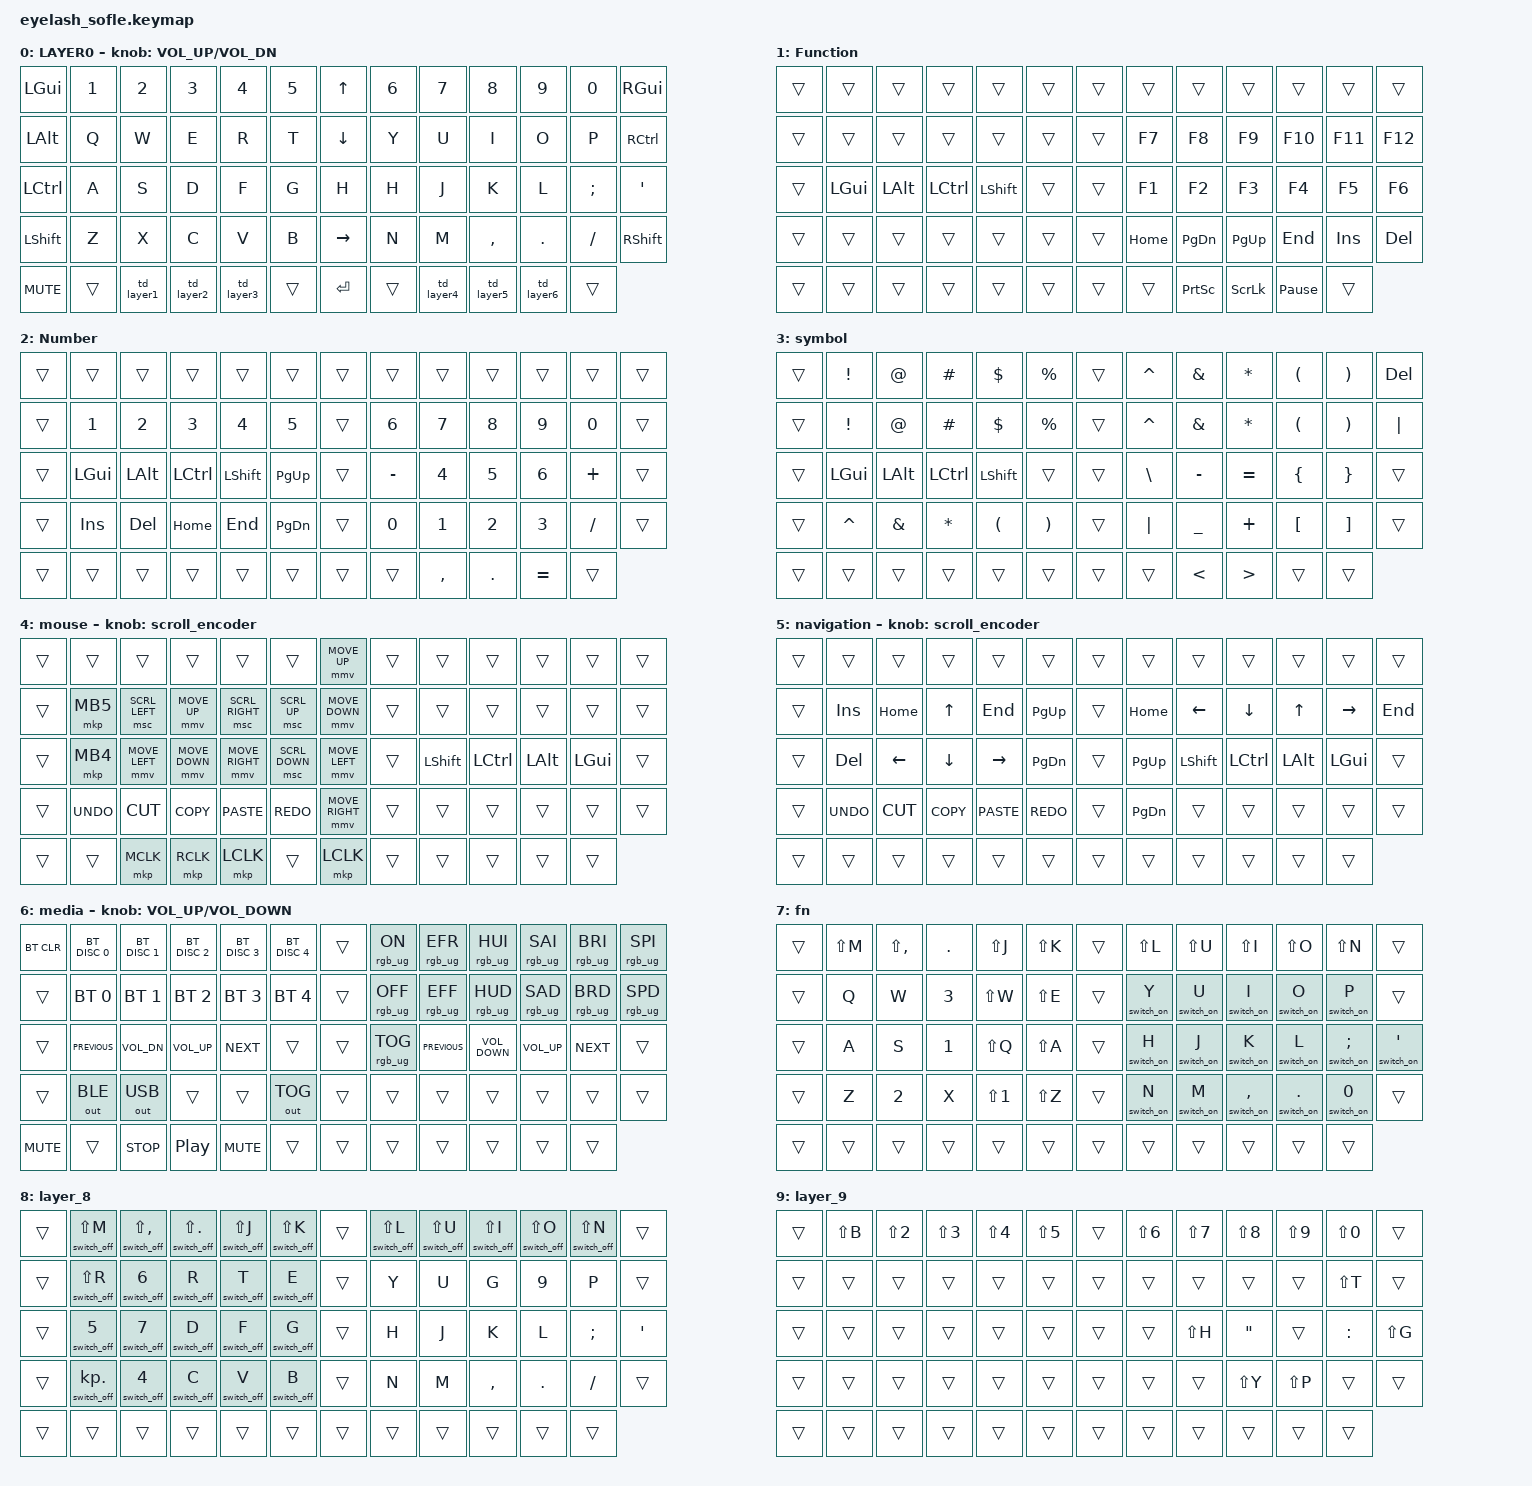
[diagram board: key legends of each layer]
#define ZMK_POINTING_DEFAULT_MOVE_VAL 1200  // 600
#define ZMK_POINTING_DEFAULT_SCRL_VAL 25   // 10

#include <input/processors.dtsi>
#include <zephyr/dt-bindings/input/input-event-codes.h>
#include <behaviors.dtsi>
#include <dt-bindings/zmk/bt.h>
#include <dt-bindings/zmk/keys.h>
#include <dt-bindings/zmk/outputs.h>
#include <dt-bindings/zmk/pointing.h>
#include <dt-bindings/zmk/rgb.h>

/ {
    zip_scroll_scaler: zip_scroll_scaler {
        compatible = "zmk,input-processor-scaler";
        #input-processor-cells = <2>;
        type = <INPUT_EV_REL>;
        codes = <INPUT_REL_WHEEL INPUT_REL_HWHEEL>;
        track-remainders;
    };
};

&mmv_input_listener { input-processors = <&zip_xy_scaler 2 1>; };

&msc_input_listener { input-processors = <&zip_scroll_scaler 2 1>; };

&msc {
    acceleration-exponent = <1>;      // 0
    time-to-max-speed-ms = <100>;       // 300
    delay-ms = <0>;                   // 0
};

&mmv {
    time-to-max-speed-ms = <500>;
    acceleration-exponent = <1>;
    trigger-period-ms = <16>;
};

/ {
    scroll_encoder: scroll_encoder {
        compatible = "zmk,behavior-sensor-rotate";
        #sensor-binding-cells = <0>;
        bindings = <&msc SCRL_DOWN>, <&msc SCRL_UP>;

        tap-ms = <100>;
    };

    tl_hr_left: tl_hr_left {
        compatible = "zmk,behavior-hold-tap";
        label = "TL_HR_LEFT";
        bindings = <&kp>, <&kp>;

        #binding-cells = <2>;
        tapping-term-ms = <220>;
        flavor = "balanced";
        quick-tap-ms = <168>;
        require-prior-idle-ms = <138>;
        hold-trigger-key-positions = <1 2 3 4 5 14 15 16 17 18 27 28 29 30 31 40 41 42 43 44 0 13 26 39 53 54 55 56 57 59 60 61 62 63 51 38 12>;
        hold-trigger-on-release;
    };

    tl_hr_right: tl_hr_right {
        compatible = "zmk,behavior-hold-tap";
        label = "TL_HR_RIGHT";
        bindings = <&kp>, <&kp>;

        #binding-cells = <2>;
        tapping-term-ms = <220>;
        flavor = "balanced";
        quick-tap-ms = <168>;
        require-prior-idle-ms = <138>;
        hold-trigger-on-release;
        hold-trigger-key-positions = <53 54 55 56 57 59 60 61 62 63 7 8 9 10 11 12 20 21 22 23 24 25 33 34 35 36 37 38 46 47 48 49 50 51 59 60 61 62 63 13 26 39>;
    };

    td_layer1: td_layer1 {
        compatible = "zmk,behavior-tap-dance";
        label = "TD_LAYER1";
        #binding-cells = <0>;
        bindings = <&lt 1 ESCAPE>, <&kp ESCAPE>;

        tapping-term-ms = <168>;
    };

    td_layer2: td_layer2 {
        compatible = "zmk,behavior-tap-dance";
        label = "TD_LAYER2";
        #binding-cells = <0>;
        bindings = <&lt 2 TAB>, <&kp TAB>;

        tapping-term-ms = <168>;
    };

    td_layer3: td_layer3 {
        compatible = "zmk,behavior-tap-dance";
        label = "TD_LAYER3";
        #binding-cells = <0>;
        bindings = <&lt 3 SPACE>, <&kp SPACE>;

        tapping-term-ms = <168>;
    };

    td_layer4: td_layer4 {
        compatible = "zmk,behavior-tap-dance";
        label = "TD_LAYER4";
        #binding-cells = <0>;
        bindings = <&lt 4 ENTER>, <&kp ENTER>;

        tapping-term-ms = <168>;
    };

    td_layer5: td_layer5 {
        compatible = "zmk,behavior-tap-dance";
        label = "TD_LAYER5";
        #binding-cells = <0>;
        bindings = <&lt 5 BACKSPACE>, <&kp BACKSPACE>;

        tapping-term-ms = <168>;
    };

    td_layer6: td_layer6 {
        compatible = "zmk,behavior-tap-dance";
        label = "TD_LAYER6";
        #binding-cells = <0>;
        bindings = <&lt 6 DELETE>, <&kp DELETE>;

        tapping-term-ms = <168>;
    };

    layer_on_toggle: layer_on_toggle {
        compatible = "zmk,behavior-toggle-layer";
        label = "LAYER_ON_TOGGLE";
        #binding-cells = <1>;
    };

    layer_off_toggle: layer_off_toggle {
        compatible = "zmk,behavior-toggle-layer";
        label = "LAYER_OFF_TOGGLE";
        #binding-cells = <1>;
        toggle-mode = "off";
    };

    behaviors {
    };

    combos {
        compatible = "zmk,combos";

        left_sys {
            bindings = <&bootloader>;
            key-positions = <0 57 1>;
        };

        right_sys {
            bindings = <&bootloader>;
            key-positions = <11 12 59>;
        };

        left_rst {
            bindings = <&sys_reset>;
            key-positions = <0 5 57>;
        };

        right_rst {
            bindings = <&sys_reset>;
            key-positions = <59 12 7>;
        };

        arrow_double_right {
            bindings = <&macro_arrow_double_right>;
            key-positions = <35 49>;
            layers = <3>;
        };

        arrow_double_left {
            bindings = <&macro_arrow_double_left>;
            key-positions = <35 48>;
            layers = <3>;
        };

        arrow_single_right {
            bindings = <&macro_arrow_single_right>;
            key-positions = <34 49>;
            layers = <3>;
        };

        arrow_single_left {
            bindings = <&macro_arrow_single_left>;
            key-positions = <34 48>;
            layers = <3>;
        };

        brace_s {
            bindings = <&kp LEFT_PARENTHESIS>;
            key-positions = <33 35>;
            layers = <3>;
        };

        brace_m {
            bindings = <&kp LEFT_BRACE>;
            key-positions = <33 36>;
            layers = <3>;
        };

        brace_l {
            bindings = <&kp LEFT_BRACKET>;
            key-positions = <33 37>;
            layers = <3>;
        };
    };

    macros {
        macro_arrow_double_right: macro_arrow_double_right {
            compatible = "zmk,behavior-macro";
            #binding-cells = <0>;
            bindings = <&kp EQUAL &kp GREATER_THAN>;
            label = "MACRO_ARROW_DOUBLE_RIGHT";
        };

        macro_arrow_double_left: macro_arrow_double_left {
            compatible = "zmk,behavior-macro";
            #binding-cells = <0>;
            bindings = <&kp LESS_THAN &kp EQUAL>;
            label = "MACRO_ARROW_DOUBLE_LEFT";
        };

        macro_arrow_single_right: macro_arrow_single_right {
            compatible = "zmk,behavior-macro";
            #binding-cells = <0>;
            bindings = <&kp MINUS &kp GREATER_THAN>;
            label = "MACRO_ARROW_SINGLE_RIGHT";
        };

        macro_arrow_single_left: macro_arrow_single_left {
            compatible = "zmk,behavior-macro";
            #binding-cells = <0>;
            bindings = <&kp LESS_THAN &kp MINUS>;
            label = "MACRO_ARROW_SINGLE_LEFT";
        };

        switch_on: switch_on {
            compatible = "zmk,behavior-macro-one-param";
            #binding-cells = <1>;
            bindings = <&macro_param_1to1 &kp MACRO_PLACEHOLDER &layer_on_toggle 7>;
            label = "SWITCH_ON";
        };

        switch_off: switch_off {
            compatible = "zmk,behavior-macro-one-param";
            #binding-cells = <1>;
            bindings = <&macro_param_1to1 &kp MACRO_PLACEHOLDER &layer_off_toggle 7>;
            label = "SWITCH_OFF";
        };
    };

    keymap {
        compatible = "zmk,keymap";

        base {
            bindings = <
&kp LGUI    &kp N1  &kp N2      &kp N3      &kp N4      &kp N5    &kp UP_ARROW     &kp N6  &kp N7      &kp N8      &kp N9      &kp N0    &kp RGUI
&kp LALT    &kp Q   &kp W       &kp E       &kp R       &kp T     &kp DOWN_ARROW   &kp Y   &kp U       &kp I       &kp O       &kp P     &kp RCTRL
&kp LCTRL   &kp A   &kp S       &kp D       &kp F       &kp G     &kp H            &kp H   &kp J       &kp K       &kp L       &kp SEMI  &kp APOS
&kp LSHFT   &kp Z   &kp X       &kp C       &kp V       &kp B     &kp RIGHT_ARROW  &kp N   &kp M       &kp COMMA   &kp DOT     &kp FSLH  &kp RIGHT_SHIFT
&kp C_MUTE  &trans  &td_layer1  &td_layer2  &td_layer3  &trans    &kp ENTER        &trans  &td_layer4  &td_layer5  &td_layer6  &trans
            >;

            sensor-bindings = <&inc_dec_kp C_VOLUME_UP C_VOL_DN>;
            display-name = "LAYER0";
        };

        Function {
            bindings = <
&trans  &trans    &trans    &trans     &trans     &trans    &trans  &trans    &trans           &trans          &trans           &trans      &trans
&trans  &trans    &trans    &trans     &trans     &trans    &trans  &kp F7    &kp F8           &kp F9          &kp F10          &kp F11     &kp F12
&trans  &kp LGUI  &kp LALT  &kp LCTRL  &kp LSHFT  &trans    &trans  &kp F1    &kp F2           &kp F3          &kp F4           &kp F5      &kp F6
&trans  &trans    &trans    &trans     &trans     &trans    &trans  &kp HOME  &kp PAGE_DOWN    &kp PAGE_UP     &kp END          &kp INSERT  &kp DELETE
&trans  &trans    &trans    &trans     &trans     &trans    &trans  &trans    &kp PRINTSCREEN  &kp SCROLLLOCK  &kp PAUSE_BREAK  &trans
            >;
        };

        Number {
            bindings = <
&trans  &trans      &trans    &trans     &trans     &trans       &trans  &trans     &trans     &trans   &trans     &trans    &trans
&trans  &kp N1      &kp N2    &kp N3     &kp N4     &kp N5       &trans  &kp N6     &kp N7     &kp N8   &kp N9     &kp N0    &trans
&trans  &kp LGUI    &kp LALT  &kp LCTRL  &kp LSHFT  &kp PG_UP    &trans  &kp MINUS  &kp N4     &kp N5   &kp N6     &kp PLUS  &trans
&trans  &kp INSERT  &kp DEL   &kp HOME   &kp END    &kp PG_DN    &trans  &kp N0     &kp N1     &kp N2   &kp N3     &kp FSLH  &trans
&trans  &trans      &trans    &trans     &trans     &trans       &trans  &trans     &kp COMMA  &kp DOT  &kp EQUAL  &trans
            >;
        };

        symbol {
            bindings = <
&trans  &kp EXCL   &kp AT    &kp HASH   &kp DLLR   &kp PRCNT    &trans  &kp CARET      &kp AMPERSAND   &kp ASTERISK  &kp LEFT_PARENTHESIS  &kp RIGHT_PARENTHESIS  &kp DELETE
&trans  &kp EXCL   &kp AT    &kp HASH   &kp DLLR   &kp PRCNT    &trans  &kp CARET      &kp AMPS        &kp STAR      &kp LPAR              &kp RPAR               &kp PIPE
&trans  &kp LGUI   &kp LALT  &kp LCTRL  &kp LSHFT  &trans       &trans  &kp BACKSLASH  &kp MINUS       &kp EQUAL     &kp LBRC              &kp RBRC               &trans
&trans  &kp CARET  &kp AMPS  &kp STAR   &kp LPAR   &kp RPAR     &trans  &kp PIPE       &kp UNDERSCORE  &kp PLUS      &kp LBKT              &kp RBKT               &trans
&trans  &trans     &trans    &trans     &trans     &trans       &trans  &trans         &kp LT          &kp GT        &trans                &trans
            >;
        };

        mouse {
            bindings = <
&trans  &trans      &trans          &trans          &trans           &trans            &mmv MOVE_UP     &trans  &trans     &trans     &trans    &trans    &trans
&trans  &mkp MB5    &msc SCRL_LEFT  &mmv MOVE_UP    &msc SCRL_RIGHT  &msc SCRL_UP      &mmv MOVE_DOWN   &trans  &trans     &trans     &trans    &trans    &trans
&trans  &mkp MB4    &mmv MOVE_LEFT  &mmv MOVE_DOWN  &mmv MOVE_RIGHT  &msc SCRL_DOWN    &mmv MOVE_LEFT   &trans  &kp LSHFT  &kp LCTRL  &kp LALT  &kp LGUI  &trans
&trans  &kp K_UNDO  &kp K_CUT       &kp K_COPY      &kp K_PASTE      &kp K_REDO        &mmv MOVE_RIGHT  &trans  &trans     &trans     &trans    &trans    &trans
&trans  &trans      &mkp MCLK       &mkp RCLK       &mkp LCLK        &trans            &mkp LCLK        &trans  &trans     &trans     &trans    &trans
            >;

            sensor-bindings = <&scroll_encoder>;
        };

        navigation {
            bindings = <
&trans  &trans      &trans     &trans      &trans       &trans        &trans  &trans         &trans     &trans     &trans    &trans     &trans
&trans  &kp INSERT  &kp HOME   &kp UP      &kp END      &kp PG_UP     &trans  &kp HOME       &kp LEFT   &kp DOWN   &kp UP    &kp RIGHT  &kp END
&trans  &kp DELETE  &kp LEFT   &kp DOWN    &kp RIGHT    &kp PG_DN     &trans  &kp PAGE_UP    &kp LSHFT  &kp LCTRL  &kp LALT  &kp LGUI   &trans
&trans  &kp K_UNDO  &kp K_CUT  &kp K_COPY  &kp K_PASTE  &kp K_REDO    &trans  &kp PAGE_DOWN  &trans     &trans     &trans    &trans     &trans
&trans  &trans      &trans     &trans      &trans       &trans        &trans  &trans         &trans     &trans     &trans    &trans
            >;

            sensor-bindings = <&scroll_encoder>;
        };

        media {
            bindings = <
&bt BT_CLR  &bt BT_DISC 0   &bt BT_DISC 1  &bt BT_DISC 2     &bt BT_DISC 3  &bt BT_DISC 4    &trans  &rgb_ug RGB_ON   &rgb_ug RGB_EFR  &rgb_ug RGB_HUI    &rgb_ug RGB_SAI  &rgb_ug RGB_BRI  &rgb_ug RGB_SPI
&trans      &bt BT_SEL 0    &bt BT_SEL 1   &bt BT_SEL 2      &bt BT_SEL 3   &bt BT_SEL 4     &trans  &rgb_ug RGB_OFF  &rgb_ug RGB_EFF  &rgb_ug RGB_HUD    &rgb_ug RGB_SAD  &rgb_ug RGB_BRD  &rgb_ug RGB_SPD
&trans      &kp C_PREVIOUS  &kp C_VOL_DN   &kp C_VOL_UP      &kp C_NEXT     &trans           &trans  &rgb_ug RGB_TOG  &kp C_PREVIOUS   &kp C_VOLUME_DOWN  &kp C_VOLUME_UP  &kp C_NEXT       &trans
&trans      &out OUT_BLE    &out OUT_USB   &trans            &trans         &out OUT_TOG     &trans  &trans           &trans           &trans             &trans           &trans           &trans
&kp C_MUTE  &trans          &kp C_STOP     &kp C_PLAY_PAUSE  &kp C_MUTE     &trans           &trans  &trans           &trans           &trans             &trans           &trans
            >;

            sensor-bindings = <&inc_dec_kp C_VOLUME_UP C_VOLUME_DOWN>;
        };

        fn {
            bindings = <
&trans  &kp LS(M)  &kp LS(COMMA)  &kp DOT  &kp LS(J)   &kp LS(K)    &trans  &kp LS(L)     &kp LS(U)     &kp LS(I)         &kp LS(O)       &kp LS(N)        &trans
&trans  &kp Q      &kp W          &kp N3   &kp LS(W)   &kp LS(E)    &trans  &switch_on Y  &switch_on U  &switch_on I      &switch_on O    &switch_on P     &trans
&trans  &kp A      &kp S          &kp N1   &kp LS(Q)   &kp LS(A)    &trans  &switch_on H  &switch_on J  &switch_on K      &switch_on L    &switch_on SEMI  &switch_on SQT
&trans  &kp Z      &kp N2         &kp X    &kp LS(N1)  &kp LS(Z)    &trans  &switch_on N  &switch_on M  &switch_on COMMA  &switch_on DOT  &switch_on N0    &trans
&trans  &trans     &trans         &trans   &trans      &trans       &trans  &trans        &trans        &trans            &trans          &trans
            >;
        };

        layer_8 {
            bindings = <
&trans  &switch_off LS(M)   &switch_off LS(COMMA)  &switch_off LS(DOT)  &switch_off LS(J)  &switch_off LS(K)    &trans  &switch_off LS(L)  &switch_off LS(U)  &switch_off LS(I)  &switch_off LS(O)  &switch_off LS(N)  &trans
&trans  &switch_off LS(R)   &switch_off N6         &switch_off R        &switch_off T      &switch_off E        &trans  &kp Y              &kp U              &kp G              &kp N9             &kp P              &trans
&trans  &switch_off N5      &switch_off N7         &switch_off D        &switch_off F      &switch_off G        &trans  &kp H              &kp J              &kp K              &kp L              &kp SEMI           &kp APOS
&trans  &switch_off KP_DOT  &switch_off N4         &switch_off C        &switch_off V      &switch_off B        &trans  &kp N              &kp M              &kp COMMA          &kp DOT            &kp FSLH           &trans
&trans  &trans              &trans                 &trans               &trans             &trans               &trans  &trans             &trans             &trans             &trans             &trans
            >;
        };

        layer_9 {
            bindings = <
&trans  &kp LS(B)  &kp LS(N2)  &kp LS(N3)  &kp LS(N4)  &kp LS(N5)    &trans  &kp LS(N6)  &kp LS(N7)  &kp LS(N8)  &kp LS(N9)  &kp LS(N0)  &trans
&trans  &trans     &trans      &trans      &trans      &trans        &trans  &trans      &trans      &trans      &trans      &kp LS(T)   &trans
&trans  &trans     &trans      &trans      &trans      &trans        &trans  &trans      &kp LS(H)   &kp DQT     &trans      &kp COLON   &kp LS(G)
&trans  &trans     &trans      &trans      &trans      &trans        &trans  &trans      &trans      &kp LS(Y)   &kp LS(P)   &trans      &trans
&trans  &trans     &trans      &trans      &trans      &trans        &trans  &trans      &trans      &trans      &trans      &trans
            >;
        };
    };

    conditional_layers { compatible = "zmk,conditional-layers"; };
};
